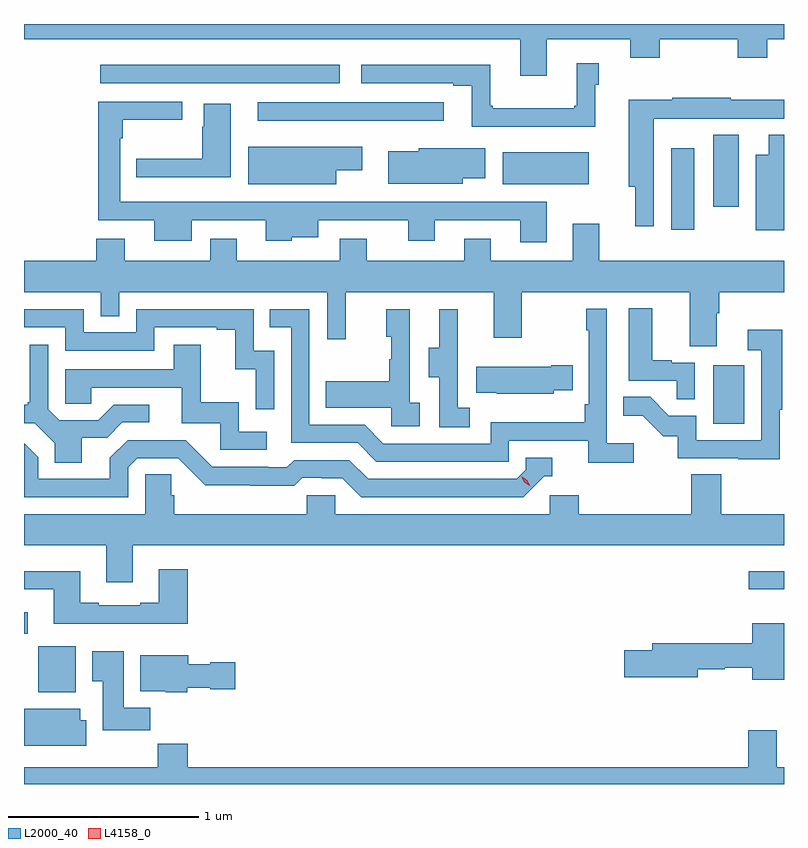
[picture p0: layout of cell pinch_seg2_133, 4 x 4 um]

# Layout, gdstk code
import gdstk
lib = gdstk.Library(unit=1e-6, precision=1e-09)
def R(c, l, rs):  # rectangles x0, y0, x1, y1
    for r in rs: c.add(gdstk.rectangle(r[:2], r[2:], *l))
def P(c, l, *ps):  # polygons
    for p in ps: c.add(gdstk.Polygon(p, *l))
L2000_40 = (2000, 40)
L4158_0 = (4158, 0)

pinch_seg2_133 = lib.new_cell('pinch_seg2_133')
R(pinch_seg2_133, L2000_40, [(1071.122,644.198,1071.319,644.44), (1071.046,644.507,1071.067,644.62), (1074.861,644.739,1075.046,644.836), (1074.674,645.612,1074.838,645.919), (1074.452,646.632,1074.574,647.062), (1074.674,646.752,1074.808,647.132), (1073.567,646.871,1074.019,647.041), (1072.275,647.207,1073.254,647.304), (1071.447,647.403,1072.708,647.5)])
P(pinch_seg2_133, L2000_40, [(1073.797,647.636),(1074.238,647.636),(1074.238,647.537),(1074.393,647.537),(1074.393,647.636),(1074.802,647.636),(1074.802,647.537),(1074.957,647.537),(1074.957,647.636),(1075.046,647.636),(1075.046,647.715),(1071.046,647.715),(1071.046,647.636),(1073.657,647.636),(1073.657,647.442),(1073.797,647.442)],
  [(1074.052,647.396),(1074.071,647.396),(1074.071,647.509),(1073.954,647.509),(1073.954,647.284),(1073.943,647.284),(1073.943,647.272),(1073.512,647.272),(1073.512,647.284),(1073.5,647.284),(1073.5,647.5),(1072.821,647.5),(1072.821,647.403),(1073.306,647.403),(1073.306,647.391),(1073.402,647.391),(1073.402,647.174),(1074.052,647.174)],
  [(1074.36,647.216),(1074.57,647.216),(1074.57,647.217),(1075.046,647.217),(1075.046,647.316),(1074.767,647.316),(1074.767,647.326),(1074.457,647.326),(1074.457,647.316),(1074.23,647.316),(1074.23,646.859),(1074.262,646.859),(1074.262,646.65),(1074.36,646.65)],
  [(1073.797,646.779),(1071.552,646.779),(1071.552,647.114),(1071.565,647.114),(1071.565,647.21),(1071.88,647.21),(1071.88,647.307),(1071.436,647.307),(1071.436,646.683),(1071.731,646.683),(1071.731,646.574),(1071.928,646.574),(1071.928,646.683),(1072.319,646.683),(1072.319,646.574),(1072.455,646.574),(1072.455,646.592),(1072.594,646.592),(1072.594,646.683),(1073.069,646.683),(1073.069,646.574),(1073.209,646.574),(1073.209,646.683),(1073.657,646.683),(1073.657,646.566),(1073.797,646.566)],
  [(1072.135,647.296),(1071.992,647.296),(1071.992,647.174),(1071.985,647.174),(1071.985,647.006),(1071.637,647.006),(1071.637,646.909),(1071.745,646.909),(1071.745,646.908),(1072.135,646.908)],
  [(1075.046,647.132),(1074.965,647.132),(1074.965,647.026),(1074.896,647.026),(1074.896,646.629),(1075.046,646.629)],
  [(1072.69,646.946),(1072.825,646.946),(1072.825,647.068),(1072.226,647.068),(1072.226,646.871),(1072.69,646.871)],
  [(1073.356,646.904),(1073.473,646.904),(1073.473,647.062),(1073.124,647.062),(1073.124,647.044),(1072.964,647.044),(1072.964,646.874),(1073.356,646.874)],
  [(1073.503,646.585),(1073.363,646.585),(1073.363,646.468),(1072.849,646.468),(1072.849,646.585),(1072.709,646.585),(1072.709,646.468),(1072.165,646.468),(1072.165,646.585),(1072.025,646.585),(1072.025,646.468),(1071.577,646.468),(1071.577,646.585),(1071.425,646.585),(1071.425,646.468),(1071.046,646.468),(1071.046,646.304),(1071.45,646.304),(1071.45,646.177),(1071.546,646.177),(1071.546,646.304),(1072.641,646.304),(1072.641,646.056),(1072.739,646.056),(1072.739,646.304),(1073.519,646.304),(1073.519,646.065),(1073.667,646.065),(1073.667,646.304),(1074.551,646.304),(1074.551,646.018),(1074.691,646.018),(1074.691,646.192),(1074.704,646.192),(1074.704,646.304),(1075.046,646.304),(1075.046,646.468),(1074.073,646.468),(1074.073,646.663),(1073.933,646.663),(1073.933,646.468),(1073.503,646.468)],
  [(1074.576,645.933),(1074.455,645.933),(1074.455,645.946),(1074.352,645.946),(1074.352,646.219),(1074.23,646.219),(1074.23,645.837),(1074.481,645.837),(1074.481,645.739),(1074.576,645.739)],
  [(1074.256,645.508),(1074.114,645.508),(1074.114,646.216),(1074.006,646.216),(1074.006,646.103),(1074.018,646.103),(1074.018,645.715),(1073.998,645.715),(1073.998,645.619),(1073.502,645.619),(1073.502,645.507),(1072.938,645.507),(1072.839,645.606),(1072.548,645.606),(1072.548,646.215),(1072.339,646.215),(1072.339,646.119),(1072.452,646.119),(1072.452,645.51),(1072.802,645.51),(1072.901,645.411),(1073.598,645.411),(1073.598,645.522),(1074.017,645.522),(1074.017,645.406),(1074.256,645.406)],
  [(1072.362,645.996),(1072.254,645.996),(1072.254,646.215),(1071.636,646.215),(1071.636,646.092),(1071.36,646.092),(1071.36,646.215),(1071.046,646.215),(1071.046,646.119),(1071.264,646.119),(1071.264,645.996),(1071.732,645.996),(1071.732,646.119),(1072.061,646.119),(1072.061,646.107),(1072.157,646.107),(1072.157,645.899),(1072.266,645.899),(1072.266,645.687),(1072.362,645.687)],
  [(1073.128,645.722),(1073.076,645.722),(1073.076,646.213),(1072.952,646.213),(1072.952,646.068),(1072.978,646.068),(1072.978,645.95),(1072.968,645.95),(1072.968,645.835),(1072.633,645.835),(1072.633,645.695),(1072.98,645.695),(1072.98,645.597),(1073.128,645.597)],
  [(1073.392,645.695),(1073.328,645.695),(1073.328,645.999),(1073.33,645.999),(1073.33,646.213),(1073.231,646.213),(1073.231,646.011),(1073.177,646.011),(1073.177,645.856),(1073.232,645.856),(1073.232,645.592),(1073.392,645.592)],
  [(1075.023,645.685),(1075.036,645.685),(1075.036,646.105),(1074.855,646.105),(1074.855,645.999),(1074.927,645.999),(1074.927,645.525),(1074.585,645.525),(1074.585,645.654),(1074.44,645.654),(1074.342,645.752),(1074.199,645.752),(1074.199,645.653),(1074.303,645.653),(1074.41,645.546),(1074.487,645.546),(1074.487,645.429),(1074.805,645.429),(1074.805,645.424),(1075.023,645.424)],
  [(1072.324,645.57),(1072.176,645.57),(1072.176,645.724),(1071.977,645.724),(1071.977,646.027),(1071.833,646.027),(1071.833,645.897),(1071.264,645.897),(1071.264,645.717),(1071.401,645.717),(1071.401,645.801),(1071.875,645.801),(1071.875,645.615),(1072.08,645.615),(1072.08,645.474),(1072.324,645.474)],
  [(1071.349,645.538),(1071.484,645.538),(1071.564,645.618),(1071.706,645.618),(1071.706,645.711),(1071.518,645.711),(1071.437,645.63),(1071.231,645.63),(1071.174,645.687),(1071.174,646.027),(1071.077,646.027),(1071.077,645.724),(1071.066,645.724),(1071.066,645.712),(1071.046,645.712),(1071.046,645.615),(1071.102,645.615),(1071.209,645.508),(1071.209,645.406),(1071.349,645.406)],
  [(1073.835,645.788),(1073.933,645.788),(1073.933,645.918),(1073.822,645.918),(1073.822,645.91),(1073.425,645.91),(1073.425,645.773),(1073.533,645.773),(1073.533,645.77),(1073.835,645.77)],
  [(1071.594,645.381),(1071.642,645.429),(1071.858,645.429),(1072,645.287),(1072.236,645.287),(1072.236,645.285),(1072.469,645.285),(1072.511,645.327),(1072.614,645.327),(1072.614,645.324),(1072.721,645.324),(1072.82,645.225),(1073.673,645.225),(1073.784,645.336),(1073.827,645.336),(1073.827,645.432),(1073.688,645.432),(1073.688,645.369),(1073.64,645.321),(1072.857,645.321),(1072.758,645.42),(1072.469,645.42),(1072.43,645.381),(1072.331,645.381),(1072.331,645.384),(1072.038,645.384),(1071.897,645.525),(1071.591,645.525),(1071.497,645.431),(1071.497,645.321),(1071.12,645.321),(1071.12,645.435),(1071.046,645.509),(1071.046,645.225),(1071.594,645.225)],
  [(1071.619,644.972),(1075.046,644.972),(1075.046,645.136),(1074.717,645.136),(1074.717,645.344),(1074.557,645.344),(1074.557,645.136),(1073.966,645.136),(1073.966,645.234),(1073.814,645.234),(1073.814,645.136),(1072.683,645.136),(1072.683,645.234),(1072.533,645.234),(1072.533,645.136),(1071.836,645.136),(1071.836,645.234),(1071.821,645.234),(1071.821,645.344),(1071.684,645.344),(1071.684,645.136),(1071.046,645.136),(1071.046,644.972),(1071.479,644.972),(1071.479,644.778),(1071.619,644.778)],
  [(1071.908,644.845),(1071.755,644.845),(1071.755,644.668),(1071.659,644.668),(1071.659,644.655),(1071.439,644.655),(1071.439,644.668),(1071.343,644.668),(1071.343,644.836),(1071.046,644.836),(1071.046,644.739),(1071.203,644.739),(1071.203,644.558),(1071.908,644.558)],
  [(1075.046,644.56),(1074.878,644.56),(1074.878,644.456),(1074.353,644.456),(1074.353,644.42),(1074.204,644.42),(1074.204,644.278),(1074.592,644.278),(1074.592,644.32),(1074.735,644.32),(1074.735,644.328),(1074.878,644.328),(1074.878,644.264),(1075.046,644.264)],
  [(1071.71,644.116),(1071.571,644.116),(1071.571,644.413),(1071.404,644.413),(1071.404,644.257),(1071.461,644.257),(1071.461,643.998),(1071.71,643.998)],
  [(1071.906,644.222),(1072.026,644.222),(1072.026,644.215),(1072.159,644.215),(1072.159,644.357),(1072.026,644.357),(1072.026,644.344),(1071.91,644.344),(1071.91,644.392),(1071.659,644.392),(1071.659,644.204),(1071.792,644.204),(1071.792,644.198),(1071.906,644.198)],
  [(1071.373,644.051),(1071.343,644.051),(1071.343,644.11),(1071.046,644.11),(1071.046,643.916),(1071.373,643.916)],
  [(1075.046,643.804),(1075.009,643.804),(1075.009,643.999),(1074.857,643.999),(1074.857,643.804),(1071.908,643.804),(1071.908,643.928),(1071.751,643.928),(1071.751,643.804),(1071.046,643.804),(1071.046,643.715),(1075.046,643.715)])
P(pinch_seg2_133, L4158_0, [(1073.71,645.282),(1073.679,645.302),(1073.664,645.335),(1073.664,645.335),(1073.664,645.335),(1073.695,645.315),(1073.71,645.282),(1073.71,645.282)])

lib.write_gds('pinch_seg2_133.gds')
